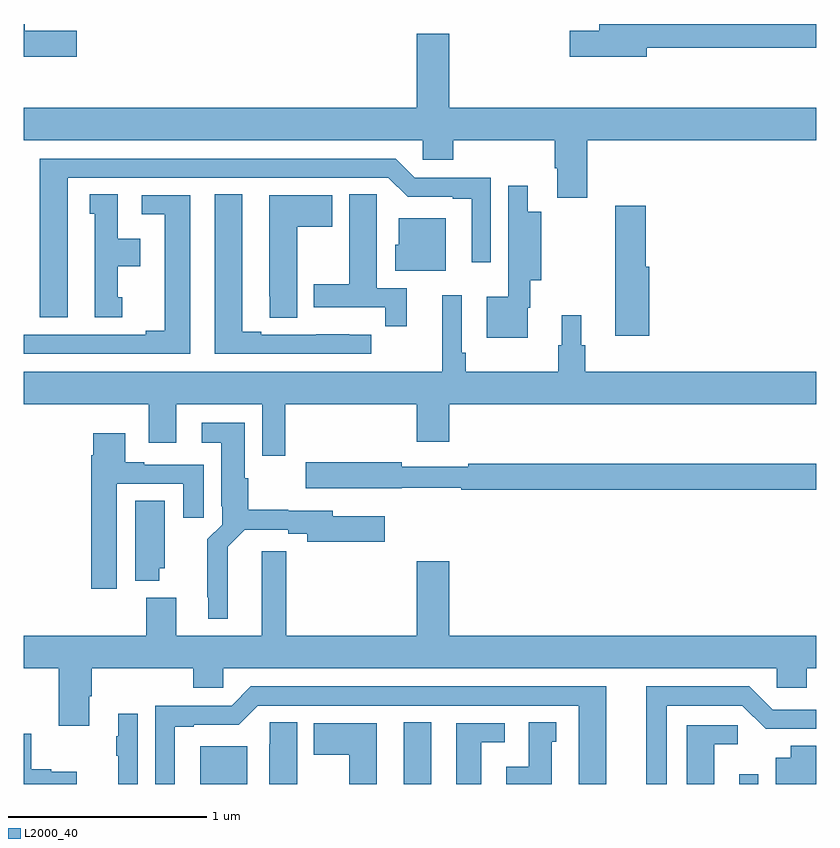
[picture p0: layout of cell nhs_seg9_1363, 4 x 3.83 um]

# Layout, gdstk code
import gdstk
lib = gdstk.Library(unit=1e-6, precision=1e-09)
def R(c, l, rs):  # rectangles x0, y0, x1, y1
    for r in rs: c.add(gdstk.rectangle(r[:2], r[2:], *l))
def P(c, l, *ps):  # polygons
    for p in ps: c.add(gdstk.Polygon(p, *l))
L2000_40 = (2000, 40)

nhs_seg9_1363 = lib.new_cell('nhs_seg9_1363')
R(nhs_seg9_1363, L2000_40, [(187.892,1198.5,188.128,1198.69), (188.918,1198.5,189.058,1198.811), (190.611,1198.5,190.707,1198.549)])
P(nhs_seg9_1363, L2000_40, [(187.267,1202.301),(187.006,1202.301),(187.006,1202.335),(187,1202.335),(187,1202.171),(187.267,1202.171)],
  [(190.144,1202.214),(191,1202.214),(191,1202.335),(189.905,1202.335),(189.905,1202.301),(189.756,1202.301),(189.756,1202.171),(190.144,1202.171)],
  [(189.845,1201.748),(191,1201.748),(191,1201.912),(189.148,1201.912),(189.148,1202.287),(188.984,1202.287),(188.984,1201.912),(187,1201.912),(187,1201.748),(189.015,1201.748),(189.015,1201.65),(189.167,1201.65),(189.167,1201.748),(189.68,1201.748),(189.68,1201.606),(189.692,1201.606),(189.692,1201.458),(189.845,1201.458)],
  [(187.222,1201.56),(188.841,1201.56),(188.937,1201.464),(189.164,1201.464),(189.164,1201.452),(189.26,1201.452),(189.26,1201.134),(189.357,1201.134),(189.357,1201.56),(188.973,1201.56),(188.877,1201.656),(187.082,1201.656),(187.082,1200.855),(187.222,1200.855)],
  [(189.543,1200.902),(189.556,1200.902),(189.556,1201.043),(189.612,1201.043),(189.612,1201.387),(189.544,1201.387),(189.544,1201.519),(189.446,1201.519),(189.446,1201.283),(189.445,1201.283),(189.445,1200.958),(189.338,1200.958),(189.338,1200.752),(189.543,1200.752)],
  [(188.933,1201.002),(188.782,1201.002),(188.782,1201.364),(188.781,1201.364),(188.781,1201.475),(188.642,1201.475),(188.642,1201.023),(188.465,1201.023),(188.465,1200.906),(188.824,1200.906),(188.824,1200.81),(188.933,1200.81)],
  [(187.498,1200.957),(187.474,1200.957),(187.474,1201.112),(187.588,1201.112),(187.588,1201.252),(187.474,1201.252),(187.474,1201.475),(187.334,1201.475),(187.334,1201.377),(187.358,1201.377),(187.358,1200.855),(187.498,1200.855)],
  [(188.755,1200.768),(188.642,1200.768),(188.642,1200.769),(188.476,1200.769),(188.476,1200.768),(188.2,1200.768),(188.2,1200.783),(188.104,1200.783),(188.104,1201.475),(187.964,1201.475),(187.964,1200.672),(188.755,1200.672)],
  [(188.38,1201.312),(188.557,1201.312),(188.557,1201.471),(188.24,1201.471),(188.24,1200.961),(188.241,1200.961),(188.241,1200.853),(188.38,1200.853)],
  [(187.84,1201.47),(187.596,1201.47),(187.596,1201.374),(187.712,1201.374),(187.712,1200.788),(187.616,1200.788),(187.616,1200.768),(187,1200.768),(187,1200.672),(187.84,1200.672)],
  [(190.157,1201.11),(190.139,1201.11),(190.139,1201.417),(189.985,1201.417),(189.985,1201.11),(189.986,1201.11),(189.986,1200.762),(190.157,1200.762)],
  [(189.13,1201.354),(188.894,1201.354),(188.894,1201.221),(188.876,1201.221),(188.876,1201.091),(189.13,1201.091)],
  [(188.321,1200.416),(188.984,1200.416),(188.984,1200.228),(189.148,1200.228),(189.148,1200.416),(191,1200.416),(191,1200.58),(189.833,1200.58),(189.833,1200.714),(189.814,1200.714),(189.814,1200.865),(189.716,1200.865),(189.716,1200.714),(189.697,1200.714),(189.697,1200.58),(189.23,1200.58),(189.23,1200.676),(189.21,1200.676),(189.21,1200.967),(189.113,1200.967),(189.113,1200.58),(187,1200.58),(187,1200.416),(187.631,1200.416),(187.631,1200.222),(187.771,1200.222),(187.771,1200.416),(188.205,1200.416),(188.205,1200.156),(188.321,1200.156)],
  [(188.029,1199.696),(188.116,1199.784),(188.336,1199.784),(188.336,1199.764),(188.432,1199.764),(188.432,1199.722),(188.821,1199.722),(188.821,1199.851),(188.56,1199.851),(188.56,1199.88),(188.336,1199.88),(188.336,1199.885),(188.134,1199.885),(188.134,1200.042),(188.116,1200.042),(188.116,1200.322),(187.899,1200.322),(187.899,1200.221),(187.997,1200.221),(187.997,1199.902),(188.001,1199.902),(188.001,1199.808),(187.927,1199.734),(187.927,1199.443),(187.931,1199.443),(187.931,1199.333),(188.029,1199.333)],
  [(187.471,1200.015),(187.805,1200.015),(187.805,1199.844),(187.909,1199.844),(187.909,1200.111),(187.609,1200.111),(187.609,1200.124),(187.513,1200.124),(187.513,1200.271),(187.352,1200.271),(187.352,1200.158),(187.34,1200.158),(187.34,1199.484),(187.471,1199.484)],
  [(191,1200.115),(189.244,1200.115),(189.244,1200.102),(188.908,1200.102),(188.908,1200.123),(188.424,1200.123),(188.424,1199.993),(188.908,1199.993),(188.908,1199.994),(189.208,1199.994),(189.208,1199.986),(191,1199.986)],
  [(187.684,1199.589),(187.711,1199.589),(187.711,1199.93),(187.562,1199.93),(187.562,1199.525),(187.684,1199.525)],
  [(187.33,1198.942),(187.343,1198.942),(187.343,1199.084),(187.856,1199.084),(187.856,1198.986),(188.007,1198.986),(188.007,1199.084),(190.8,1199.084),(190.8,1198.986),(190.952,1198.986),(190.952,1199.084),(191,1199.084),(191,1199.248),(189.148,1199.248),(189.148,1199.623),(188.984,1199.623),(188.984,1199.248),(188.324,1199.248),(188.324,1199.674),(188.201,1199.674),(188.201,1199.248),(187.771,1199.248),(187.771,1199.44),(187.619,1199.44),(187.619,1199.248),(187,1199.248),(187,1199.084),(187.178,1199.084),(187.178,1198.794),(187.33,1198.794)],
  [(190.246,1198.896),(190.626,1198.896),(190.744,1198.778),(190.84,1198.778),(190.84,1198.779),(191,1198.779),(191,1198.875),(190.779,1198.875),(190.662,1198.992),(190.142,1198.992),(190.142,1198.5),(190.246,1198.5)],
  [(187.762,1198.788),(187.858,1198.788),(187.858,1198.8),(188.085,1198.8),(188.181,1198.896),(189.8,1198.896),(189.8,1198.5),(189.94,1198.5),(189.94,1198.992),(188.145,1198.992),(188.049,1198.896),(187.665,1198.896),(187.665,1198.5),(187.762,1198.5)],
  [(187.575,1198.855),(187.478,1198.855),(187.478,1198.742),(187.467,1198.742),(187.467,1198.642),(187.478,1198.642),(187.478,1198.5),(187.575,1198.5)],
  [(188.38,1198.811),(188.241,1198.811),(188.241,1198.7),(188.24,1198.7),(188.24,1198.5),(188.38,1198.5)],
  [(189.664,1198.713),(189.688,1198.713),(189.688,1198.811),(189.548,1198.811),(189.548,1198.588),(189.434,1198.588),(189.434,1198.5),(189.664,1198.5)],
  [(188.782,1198.807),(188.465,1198.807),(188.465,1198.648),(188.642,1198.648),(188.642,1198.5),(188.782,1198.5)],
  [(189.31,1198.71),(189.427,1198.71),(189.427,1198.806),(189.182,1198.806),(189.182,1198.5),(189.31,1198.5)],
  [(190.486,1198.7),(190.603,1198.7),(190.603,1198.797),(190.346,1198.797),(190.346,1198.5),(190.486,1198.5)],
  [(187.267,1198.561),(187.14,1198.561),(187.14,1198.574),(187.038,1198.574),(187.038,1198.753),(187,1198.753),(187,1198.5),(187.267,1198.5)],
  [(191,1198.694),(190.871,1198.694),(190.871,1198.633),(190.796,1198.633),(190.796,1198.5),(191,1198.5)])

lib.write_gds('nhs_seg9_1363.gds')
